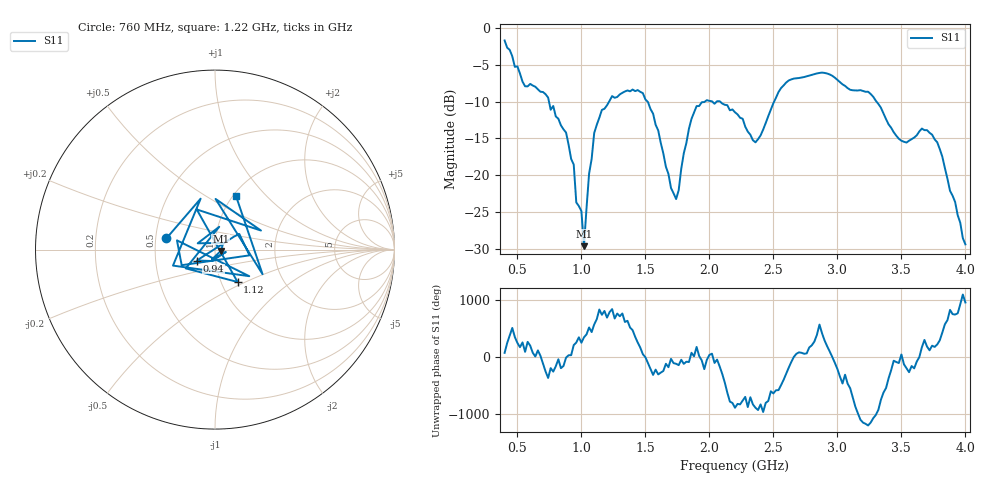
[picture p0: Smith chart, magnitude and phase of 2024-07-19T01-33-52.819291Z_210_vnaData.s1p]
!Created with skrf (http://scikit-rf.org).
# Hz S RI R 50.0
!freq ReS11 ImS11
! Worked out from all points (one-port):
!   181 points, 400 MHz to 4 GHz, reference 50 ohm
!   lowest |S11| = -29.6 dB at 1.02 GHz (marker M1), VSWR 1.07, Z = 53.3 - j0.787 ohm
!   |S11| at or under -10 dB: 746.5 MHz to 1.217 GHz (470.5 MHz wide, 47.9 % of centre); 1.516 GHz to 1.966 GHz (449.6 MHz wide, 25.8 % of centre); 3.305 GHz to end of sweep (the widest 3 of 5)
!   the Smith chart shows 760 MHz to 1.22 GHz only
!   S11 on the Smith chart (normalised r, x): 760 MHz: 0.57, +0.08; 940 MHz: 0.81, -0.10; 1.12 GHz: 1.19, -0.45; 1.22 GHz: 1.04, +0.69
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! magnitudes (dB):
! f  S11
! 400 MHz  -1.7
! 560 MHz  -7.9
! 760 MHz  -11.1
! 860 MHz  -13.8
! 940 MHz  -18.5
! 960 MHz  -23.7
! 1 GHz  -24.8
! 1.02 GHz  -29.6
! 1.06 GHz  -19.8
! 1.12 GHz  -13.2
! 1.22 GHz  -9.9
! 1.3 GHz  -9.0
! 1.48 GHz  -8.9
! 1.6 GHz  -13.9
! 1.7 GHz  -21.7
! 1.76 GHz  -22.0
! 1.84 GHz  -13.7
! 1.9 GHz  -10.6
! 2.2 GHz  -11.5
! 2.36 GHz  -15.5
! 2.54 GHz  -8.7
! 2.66 GHz  -6.9
! 3.1 GHz  -8.4
! 3.24 GHz  -8.7
! 3.56 GHz  -15.3
! 3.66 GHz  -13.7
! 3.78 GHz  -15.5
! 4 GHz  -29.4
